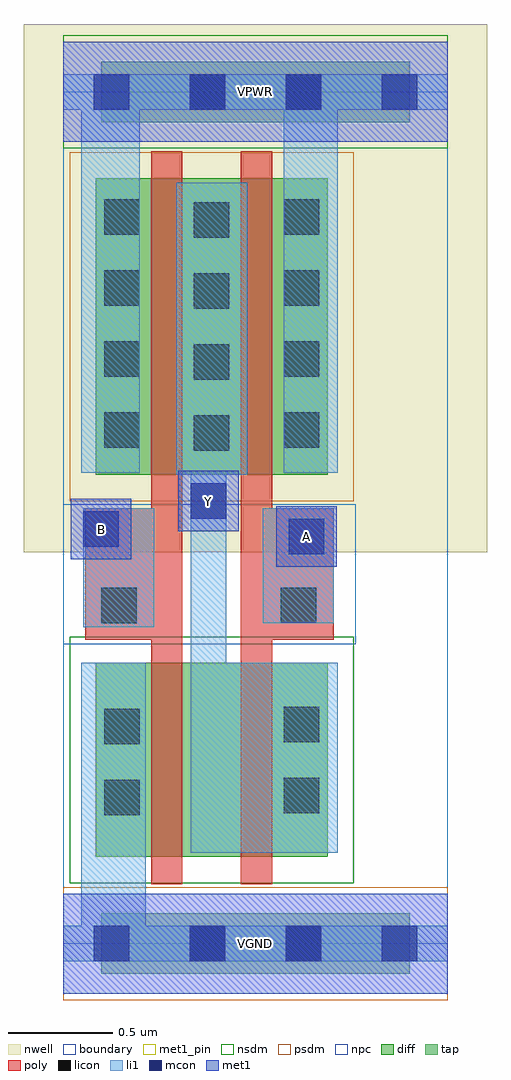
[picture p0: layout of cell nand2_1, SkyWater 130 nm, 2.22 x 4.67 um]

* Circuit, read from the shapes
.subckt nand2_1 A B VGND VPWR Y
XM1 n1 B VGND VGND sky130_fd_pr__nfet_01v8 w=0.93 l=0.15
XM2 Y A n1 VGND sky130_fd_pr__nfet_01v8 w=0.93 l=0.15
XM3 Y B VPWR VPWR sky130_fd_pr__pfet_01v8 w=1.42 l=0.15
XM4 VPWR A Y VPWR sky130_fd_pr__pfet_01v8 w=1.42 l=0.15
.ends

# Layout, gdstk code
import gdstk
lib = gdstk.Library(unit=1e-6, precision=1e-09)
def R(c, l, rs):  # rectangles x0, y0, x1, y1
    for r in rs: c.add(gdstk.rectangle(r[:2], r[2:], *l))
def A(c, l, x, y, w, h, nx, ny, dx, dy):  # array of equal rectangles
    R(c, l, [(x+i*dx, y+j*dy, x+i*dx+w, y+j*dy+h) for i in range(nx) for j in range(ny)])
nwell = (64, 20)
diff = (65, 20)
tap = (65, 44)
poly = (66, 20)
licon = (66, 44)
li1 = (67, 20)
mcon = (67, 44)
met1_pin = (68, 16)
met1 = (68, 20)
nsdm = (93, 44)
psdm = (94, 20)
npc = (95, 20)
boundary = (235, 4)

nand2_1 = lib.new_cell('nand2_1')
R(nand2_1, nwell, [(-0.19,1.875,2.03,4.405), (0,1.875,1.84,4.405)])
R(nand2_1, diff, [(0.155,0.415,1.265,1.345), (0.155,2.245,1.265,3.665)])
R(nand2_1, tap, [(0.18,-0.145,1.66,0.145), (0.18,3.935,1.66,4.225)])
R(nand2_1, poly, [(0.42,0.285,0.57,3.795), (0.85,0.285,1,3.795), (0.105,1.455,0.57,2.085), (0.85,1.455,1.295,2.085)])
A(nand2_1, licon, 0.625, 2.36, 0.17, 0.17, 1, 4, 0, 0.34)
A(nand2_1, licon, 0.195, 2.375, 0.17, 0.17, 1, 4, 0, 0.34)
A(nand2_1, licon, 1.055, 2.375, 0.17, 0.17, 1, 4, 0, 0.34)
R(nand2_1, licon, [(0.605,-0.085,0.775,0.085), (1.065,-0.085,1.235,0.085), (0.195,0.615,0.365,0.785), (1.055,0.625,1.225,0.795), (0.195,0.955,0.365,1.125), (1.055,0.965,1.225,1.135), (0.18,1.535,0.35,1.705), (1.04,1.535,1.21,1.705), (0.605,3.995,0.775,4.165), (1.065,3.995,1.235,4.165)])
R(nand2_1, li1, [(0,-0.085,1.84,0.085), (0.085,-0.085,0.395,1.345), (0.61,0.435,1.315,1.345), (0.61,0.435,0.78,3.645), (0.095,1.515,0.435,2.085), (0.955,1.535,1.295,2.085), (0.54,2.245,0.88,3.645), (0.085,2.255,0.365,4.165), (1.055,2.255,1.315,4.165), (0,3.995,1.84,4.165)])
A(nand2_1, mcon, 0.145, -0.085, 0.17, 0.17, 4, 2, 0.46, 4.08)
R(nand2_1, mcon, [(1.08,1.865,1.25,2.035), (0.095,1.9,0.265,2.07), (0.61,2.035,0.78,2.205)])
R(nand2_1, met1_pin, [(0,-0.24,1.84,0.24), (1.02,1.805,1.31,2.095), (0.035,1.84,0.325,2.13), (0.55,1.975,0.84,2.265), (0,3.84,1.84,4.32)])
R(nand2_1, met1, [(0,-0.24,1.84,0.24), (1.02,1.805,1.31,2.095), (0.035,1.84,0.325,2.13), (0.55,1.975,0.84,2.265), (0,3.84,1.84,4.32)])
R(nand2_1, nsdm, [(0.03,0.29,1.39,1.47), (0,3.81,1.84,4.35)])
R(nand2_1, psdm, [(0,-0.27,1.84,0.27), (0.03,2.12,1.39,3.79)])
R(nand2_1, npc, [(0,1.435,1.4,2.105)])
R(nand2_1, boundary, [(0,0,1.84,4.08)])
nand2_1.add(gdstk.Label('A', (1.165,1.95), layer=68, texttype=5))
nand2_1.add(gdstk.Label('B', (0.18,1.985), layer=68, texttype=5))
nand2_1.add(gdstk.Label('Y', (0.695,2.12), layer=68, texttype=5))
nand2_1.add(gdstk.Label('VPWR', (0.92,4.08), layer=68, texttype=5))
nand2_1.add(gdstk.Label('VGND', (0.92,0), layer=68, texttype=5))
nand2_1.add(gdstk.Label('A', (1.165,1.95), layer=68, texttype=16))
nand2_1.add(gdstk.Label('B', (0.18,1.985), layer=68, texttype=16))
nand2_1.add(gdstk.Label('Y', (0.695,2.12), layer=68, texttype=16))
nand2_1.add(gdstk.Label('VPWR', (0.92,4.08), layer=68, texttype=16))
nand2_1.add(gdstk.Label('VGND', (0.92,0), layer=68, texttype=16))

lib.write_gds('nand2_1.gds')
